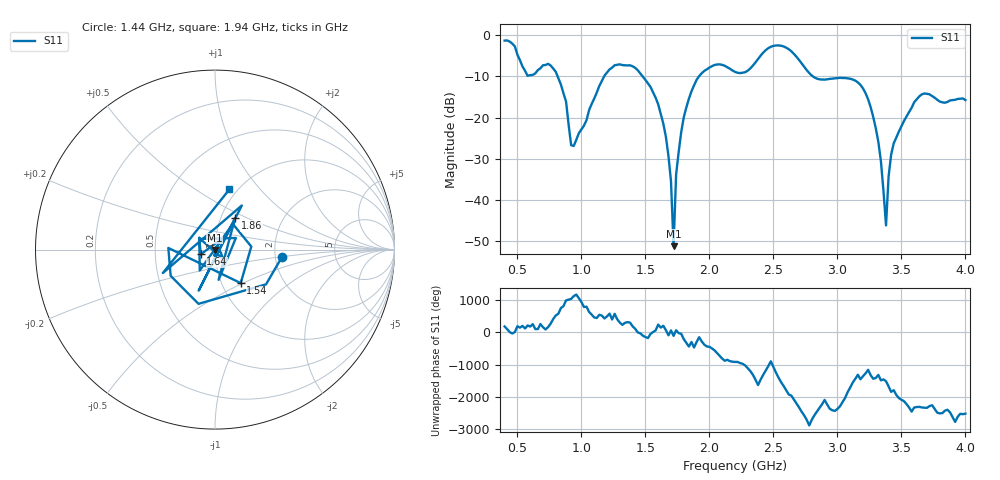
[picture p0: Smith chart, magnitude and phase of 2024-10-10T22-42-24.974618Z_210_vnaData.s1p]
! Created with skrf (http://scikit-rf.org).
# Hz S RI R 50.0
!freq ReS11 ImS11
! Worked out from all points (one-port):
!   181 points, 400 MHz to 4 GHz, reference 50 ohm
!   lowest |S11| = -51.3 dB at 1.72 GHz (marker M1), VSWR 1.01, Z = 49.9 - j0.252 ohm
!   |S11| at or under -10 dB: 814 MHz to 1.177 GHz (363.2 MHz wide, 36.5 % of centre); 1.48 GHz to 1.918 GHz (438.7 MHz wide, 25.8 % of centre); 2.809 GHz to end of sweep
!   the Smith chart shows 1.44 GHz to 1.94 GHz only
!   S11 on the Smith chart (normalised r, x): 1.44 GHz: 2.18, -0.20; 1.54 GHz: 1.23, -0.49; 1.64 GHz: 0.85, -0.05; 1.86 GHz: 1.17, +0.43; 1.94 GHz: 0.92, +0.70
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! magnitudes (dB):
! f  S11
! 400 MHz  -1.3
! 580 MHz  -9.9
! 760 MHz  -7.4
! 860 MHz  -14.1
! 940 MHz  -26.9
! 1.18 GHz  -9.8
! 1.3 GHz  -7.1
! 1.44 GHz  -8.5
! 1.54 GHz  -12.6
! 1.64 GHz  -21.5
! 1.7 GHz  -35.5
! 1.72 GHz  -51.3
! 1.74 GHz  -33.8
! 1.76 GHz  -28.4
! 1.86 GHz  -13.6
! 1.94 GHz  -9.2
! 2.2 GHz  -8.9
! 2.5 GHz  -2.6
! 2.66 GHz  -4.5
! 2.84 GHz  -10.5
! 3.1 GHz  -10.6
! 3.28 GHz  -19.9
! 3.34 GHz  -30.6
! 3.38 GHz  -46.2
! 3.42 GHz  -29.0
! 3.56 GHz  -18.7
! 3.68 GHz  -14.1
! 4 GHz  -15.7
